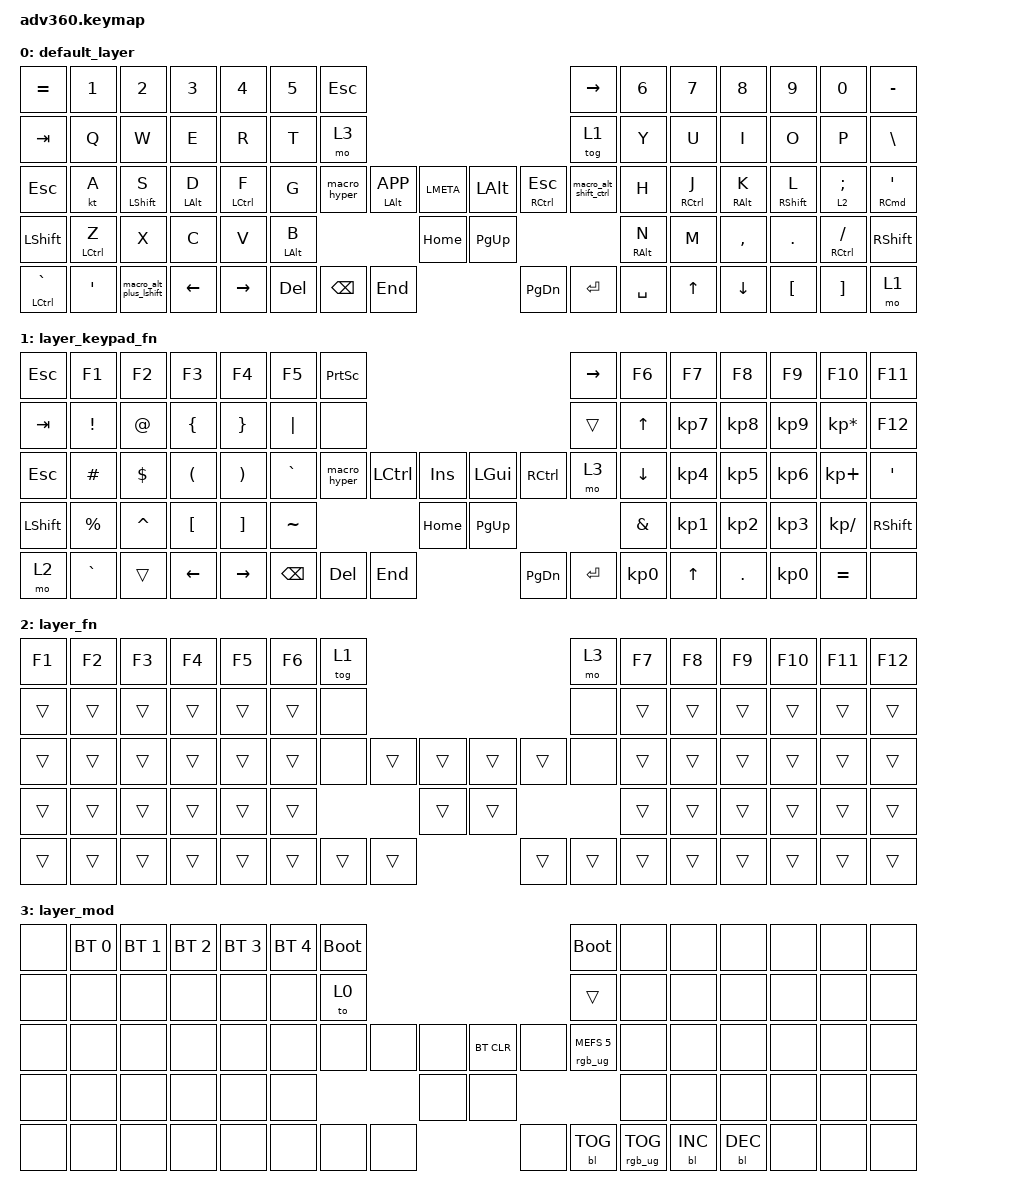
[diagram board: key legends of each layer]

/*
 * Copyright (c) 2020 The ZMK Contributors
 *
 * SPDX-License-Identifier: MIT
 */


/* THIS FILE WAS GENERATED!
 *
 * This file was generated automatically. You may or may not want to
 * edit it directly.
 */

#include <behaviors.dtsi>
#include <dt-bindings/zmk/keys.h>
#include <dt-bindings/zmk/bt.h>
#include <dt-bindings/zmk/rgb.h>
#include <dt-bindings/zmk/backlight.h>

/ {
    behaviors {
      #include "macros.dtsi"
      #include "version.dtsi"
      #ifndef VERSION_MACRO
      macro_ver: macro_ver {
        compatible = "zmk,behavior-macro";
        label = "macro_version";
        #binding-cells = <0>;
        bindings = <&kp RET>;
      };
      #endif

    hm: homerow_mods {
        compatible = "zmk,behavior-hold-tap";
        label = "HOMEROW_MODS";
        #binding-cells = <2>;
        tapping-term-ms = <200>;
        quick_tap_ms = <175>;
        flavor = "tap-preferred";
        bindings = <&kp>, <&kp>;
    };

    ht_tp: holdtap_tappreferred {
        compatible = "zmk,behavior-hold-tap";
        label = "HOLD_TAP_TAP_PREFERRED";
        #binding-cells = <2>;
        flavor = "tap-preferred";
        tapping-term-ms = <150>;
        quick-tap-ms = <0>;
        bindings = <&kp>, <&kp>;
    };
  };

    keymap {
        compatible = "zmk,keymap";


        default_layer {
            bindings = <
         &kp EQUAL           &kp N1            &kp N2                  &kp N3            &kp N4          &kp N5                 &kp ESCAPE                                                                           &kp RIGHT_ARROW           &kp N6               &kp N7          &kp N8             &kp N9         &kp N0              &kp MINUS
         &kp TAB             &kp Q             &kp W                   &kp E             &kp R           &kp T                  &mo 3                                                                               &tog 1                    &kp Y                &kp U           &kp I              &kp O          &kp P               &kp BSLH
         &kp ESC             &kt A             &ht_tp LSHFT S          &ht_tp LEFT_ALT D &ht_tp LCTRL F  &kp G                  &macro_hyper  &ht_tp LEFT_ALT K_APP  &kp LMETA        &kp LALT     &ht_tp RCTRL ESC  &macro_alt_shift_ctrl     &kp H                &ht_tp RCTRL J  &ht_tp RIGHT_ALT K &ht_tp RSHFT L &lt 2 SEMI          &ht_tp RCMD SINGLE_QUOTE
         &kp LSHFT           &ht_tp LCTRL Z    &kp X                   &kp C             &kp V           &ht_tp LEFT_ALT B                                           &kp HOME         &kp PG_UP                                                &ht_tp RIGHT_ALT N   &kp M           &kp COMMA          &kp DOT        &ht_tp RCTRL SLASH  &kp RSHFT
         &ht_tp LCTRL GRAVE  &kp SINGLE_QUOTE  &macro_alt_plus_lshift  &kp LEFT          &kp RIGHT                                    &kp DEL       &kp BACKSPACE    &kp END          &kp PG_DN    &kp ENTER         &kp SPACE                                      &kp UP          &kp DOWN           &kp LBKT       &kp RBKT            &mo 1
            >;
        };

        layer_keypad_fn {
            bindings = <
 &kp ESCAPE           &kp F1       &kp F2                &kp F3                 &kp F4     &kp F5              &kp PRINTSCREEN                                                               &kp RIGHT_ARROW          &kp F6     &kp F7     &kp F8     &kp F9          &kp F10    &kp F11
    &kp TAB  &kp EXCLAMATION  &kp AT_SIGN        &kp LEFT_BRACE        &kp RIGHT_BRACE   &kp PIPE                   &none                                                                        &trans     &kp UP_ARROW  &kp KP_N7  &kp KP_N8  &kp KP_N9  &kp KP_MULTIPLY    &kp F12
    &kp ESC         &kp HASH   &kp DOLLAR  &kp LEFT_PARENTHESIS  &kp RIGHT_PARENTHESIS  &kp GRAVE            &macro_hyper  &kp LCTRL  &kp INSERT                   &kp LGUI  &kp RCTRL            &mo 3   &kp DOWN_ARROW  &kp KP_N4  &kp KP_N5  &kp KP_N6      &kp KP_PLUS    &kp SQT
  &kp LSHFT      &kp PERCENT    &kp CARET      &kp LEFT_BRACKET      &kp RIGHT_BRACKET  &kp TILDE                                       &kp HOME                  &kp PG_UP                                &kp AMPERSAND  &kp KP_N1  &kp KP_N2  &kp KP_N3    &kp KP_DIVIDE  &kp RSHFT
      &mo 2        &kp GRAVE       &trans              &kp LEFT              &kp RIGHT                           &kp BSPC    &kp DEL     &kp END                  &kp PG_DN  &kp ENTER        &kp KP_N0                     &kp UP    &kp DOT  &kp KP_N0        &kp EQUAL      &none
            >;
        };

        layer_fn {
            bindings = <
 &kp F1  &kp F2  &kp F3  &kp F4  &kp F5  &kp F6            &tog 1                                                   &mo 3  &kp F7  &kp F8  &kp F9  &kp F10  &kp F11  &kp F12
 &trans  &trans  &trans  &trans  &trans  &trans             &none                                                   &none  &trans  &trans  &trans   &trans   &trans   &trans
 &trans  &trans  &trans  &trans  &trans  &trans             &none  &trans  &trans                  &trans  &trans   &none  &trans  &trans  &trans   &trans   &trans   &trans
 &trans  &trans  &trans  &trans  &trans  &trans                            &trans                  &trans                  &trans  &trans  &trans   &trans   &trans   &trans
 &trans  &trans  &trans  &trans  &trans                    &trans  &trans  &trans                  &trans  &trans  &trans          &trans  &trans   &trans   &trans   &trans
            >;
        };

        layer_mod {
            bindings = <
  &none  &bt BT_SEL 0  &bt BT_SEL 1  &bt BT_SEL 2  &bt BT_SEL 3  &bt BT_SEL 4            &bootloader                                                                     &bootloader   &none       &none       &none   &none   &none   &none
  &none         &none         &none         &none         &none         &none                  &to 0                                                                          &trans   &none       &none       &none   &none   &none   &none
  &none         &none         &none         &none         &none         &none                  &none   &none   &none                  &bt BT_CLR       &none  &rgb_ug RGB_MEFS_CMD 5   &none       &none       &none   &none   &none   &none
  &none         &none         &none         &none         &none         &none                                  &none                       &none                                       &none       &none       &none   &none   &none   &none
  &none         &none         &none         &none         &none                                &none   &none   &none                       &none  &bl BL_TOG         &rgb_ug RGB_TOG          &bl BL_INC  &bl BL_DEC   &none   &none   &none
            >;
        };

    };
};
